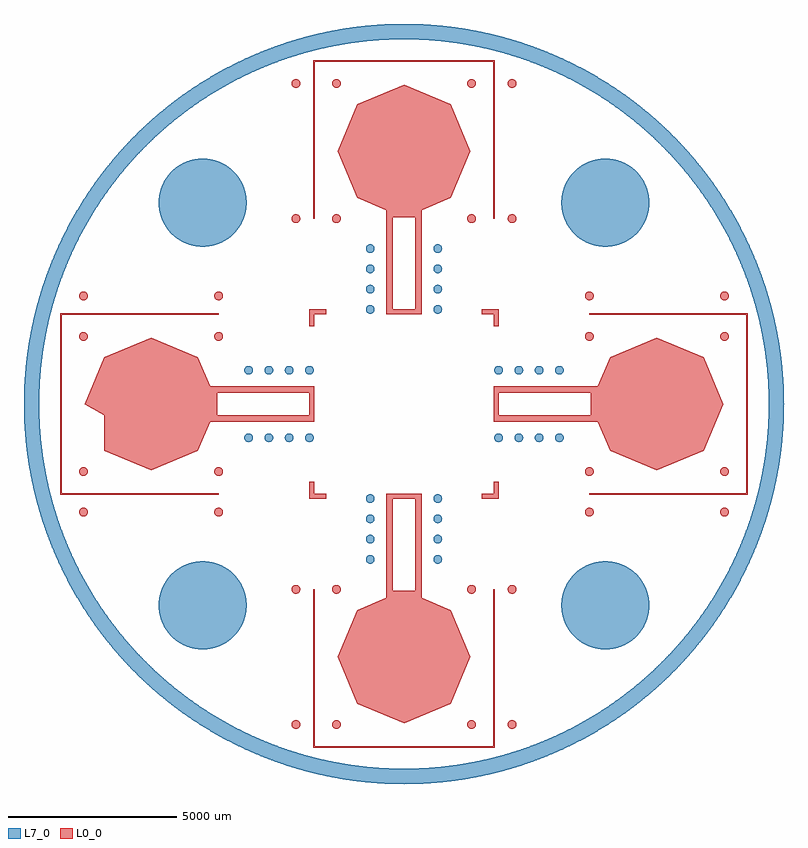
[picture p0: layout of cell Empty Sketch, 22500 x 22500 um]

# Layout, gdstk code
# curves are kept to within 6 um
import gdstk
lib = gdstk.Library(unit=1e-6, precision=1e-09)
def P(c, l, *ps):  # polygons
    for p in ps: c.add(gdstk.Polygon(p, *l))
L0_0 = (0, 0)
L7_0 = (7, 0)

empty_sketch = lib.new_cell('Empty Sketch')
P(empty_sketch, L0_0, [(-2639,10128),(2639,10128),(2639,5489),(2689,5489),(2689,10178),(-2689,10178),(-2689,5489),(-2639,5489)],
  [(-1998.988,9364.004),(-1951.697,9373.71),(-1910.899,9401.33),(-1884.322,9441.632),(-1875.004,9490.012),(-1884.71,9537.303),(-1912.33,9578.101),(-1952.632,9604.678),(-2001.012,9613.996),(-2048.303,9604.29),(-2089.101,9576.67),(-2115.678,9536.368),(-2124.996,9487.988),(-2115.29,9440.697),(-2087.67,9399.899),(-2047.368,9373.322)],
  [(-3198.988,9364.004),(-3151.697,9373.71),(-3110.899,9401.33),(-3084.322,9441.632),(-3075.004,9490.012),(-3084.71,9537.303),(-3112.33,9578.101),(-3152.632,9604.678),(-3201.012,9613.996),(-3248.303,9604.29),(-3289.101,9576.67),(-3315.678,9536.368),(-3324.996,9487.988),(-3315.29,9440.697),(-3287.67,9399.899),(-3247.368,9373.322)],
  [(2001.012,9364.004),(2048.303,9373.71),(2089.101,9401.33),(2115.678,9441.632),(2124.996,9490.012),(2115.29,9537.303),(2087.67,9578.101),(2047.368,9604.678),(1998.988,9613.996),(1951.697,9604.29),(1910.899,9576.67),(1884.322,9536.368),(1875.004,9487.988),(1884.71,9440.697),(1912.33,9399.899),(1952.632,9373.322)],
  [(3201.012,9364.004),(3248.303,9373.71),(3289.101,9401.33),(3315.678,9441.632),(3324.996,9490.012),(3315.29,9537.303),(3287.67,9578.101),(3247.368,9604.678),(3198.988,9613.996),(3151.697,9604.29),(3110.899,9576.67),(3084.322,9536.368),(3075.004,9487.988),(3084.71,9440.697),(3112.33,9399.899),(3152.632,9373.322)],
  [(-1998.988,5364.004),(-1951.697,5373.71),(-1910.899,5401.33),(-1884.322,5441.632),(-1875.004,5490.012),(-1884.71,5537.303),(-1912.33,5578.101),(-1952.632,5604.678),(-2001.012,5613.996),(-2048.303,5604.29),(-2089.101,5576.67),(-2115.678,5536.368),(-2124.996,5487.988),(-2115.29,5440.697),(-2087.67,5399.899),(-2047.368,5373.322)],
  [(2001.012,5364.004),(2048.303,5373.71),(2089.101,5401.33),(2115.678,5441.632),(2124.996,5490.012),(2115.29,5537.303),(2087.67,5578.101),(2047.368,5604.678),(1998.988,5613.996),(1951.697,5604.29),(1910.899,5576.67),(1884.322,5536.368),(1875.004,5487.988),(1884.71,5440.697),(1912.33,5399.899),(1952.632,5373.322)],
  [(3201.012,5364.004),(3248.303,5373.71),(3289.101,5401.33),(3315.678,5441.632),(3324.996,5490.012),(3315.29,5537.303),(3287.67,5578.101),(3247.368,5604.678),(3198.988,5613.996),(3151.697,5604.29),(3110.899,5576.67),(3084.322,5536.368),(3075.004,5487.988),(3084.71,5440.697),(3112.33,5399.899),(3152.632,5373.322)],
  [(-3198.988,5364.004),(-3151.697,5373.71),(-3110.899,5401.33),(-3084.322,5441.632),(-3075.004,5490.012),(-3084.71,5537.303),(-3112.33,5578.101),(-3152.632,5604.678),(-3201.012,5613.996),(-3248.303,5604.29),(-3289.101,5576.67),(-3315.678,5536.368),(-3324.996,5487.988),(-3315.29,5440.697),(-3287.67,5399.899),(-3247.368,5373.322)],
  [(-5487.988,3075.004),(-5440.697,3084.71),(-5399.899,3112.33),(-5373.322,3152.632),(-5364.004,3201.012),(-5373.71,3248.303),(-5401.33,3289.101),(-5441.632,3315.678),(-5490.012,3324.996),(-5537.303,3315.29),(-5578.101,3287.67),(-5604.678,3247.368),(-5613.996,3198.988),(-5604.29,3151.697),(-5576.67,3110.899),(-5536.368,3084.322)],
  [(-9487.988,3075.004),(-9440.697,3084.71),(-9399.899,3112.33),(-9373.322,3152.632),(-9364.004,3201.012),(-9373.71,3248.303),(-9401.33,3289.101),(-9441.632,3315.678),(-9490.012,3324.996),(-9537.303,3315.29),(-9578.101,3287.67),(-9604.678,3247.368),(-9613.996,3198.988),(-9604.29,3151.697),(-9576.67,3110.899),(-9536.368,3084.322)],
  [(9490.012,3075.004),(9537.303,3084.71),(9578.101,3112.33),(9604.678,3152.632),(9613.996,3201.012),(9604.29,3248.303),(9576.67,3289.101),(9536.368,3315.678),(9487.988,3324.996),(9440.697,3315.29),(9399.899,3287.67),(9373.322,3247.368),(9364.004,3198.988),(9373.71,3151.697),(9401.33,3110.899),(9441.632,3084.322)],
  [(5490.012,3075.004),(5537.303,3084.71),(5578.101,3112.33),(5604.678,3152.632),(5613.996,3201.012),(5604.29,3248.303),(5576.67,3289.101),(5536.368,3315.678),(5487.988,3324.996),(5440.697,3315.29),(5399.899,3287.67),(5373.322,3247.368),(5364.004,3198.988),(5373.71,3151.697),(5401.33,3110.899),(5441.632,3084.322)],
  [(2800,2800),(2300,2800),(2300,2650),(2650,2650),(2650,2300),(2800,2300)],
  [(-2650,2650),(-2300,2650),(-2300,2800),(-2800,2800),(-2800,2300),(-2650,2300)],
  [(-5489,-2639),(-10128,-2639),(-10128,2639),(-5489,2639),(-5489,2689),(-10178,2689),(-10178,-2689),(-5489,-2689)],
  [(10178,2689),(5489,2689),(5489,2639),(10128,2639),(10128,-2639),(5489,-2639),(5489,-2689),(10178,-2689)],
  [(-5487.988,1875.004),(-5440.697,1884.71),(-5399.899,1912.33),(-5373.322,1952.632),(-5364.004,2001.012),(-5373.71,2048.303),(-5401.33,2089.101),(-5441.632,2115.678),(-5490.012,2124.996),(-5537.303,2115.29),(-5578.101,2087.67),(-5604.678,2047.368),(-5613.996,1998.988),(-5604.29,1951.697),(-5576.67,1910.899),(-5536.368,1884.322)],
  [(-9487.988,1875.004),(-9440.697,1884.71),(-9399.899,1912.33),(-9373.322,1952.632),(-9364.004,2001.012),(-9373.71,2048.303),(-9401.33,2089.101),(-9441.632,2115.678),(-9490.012,2124.996),(-9537.303,2115.29),(-9578.101,2087.67),(-9604.678,2047.368),(-9613.996,1998.988),(-9604.29,1951.697),(-9576.67,1910.899),(-9536.368,1884.322)],
  [(5490.012,1875.004),(5537.303,1884.71),(5578.101,1912.33),(5604.678,1952.632),(5613.996,2001.012),(5604.29,2048.303),(5576.67,2089.101),(5536.368,2115.678),(5487.988,2124.996),(5440.697,2115.29),(5399.899,2087.67),(5373.322,2047.368),(5364.004,1998.988),(5373.71,1951.697),(5401.33,1910.899),(5441.632,1884.322)],
  [(9490.012,1875.004),(9537.303,1884.71),(9578.101,1912.33),(9604.678,1952.632),(9613.996,2001.012),(9604.29,2048.303),(9576.67,2089.101),(9536.368,2115.678),(9487.988,2124.996),(9440.697,2115.29),(9399.899,2087.67),(9373.322,2047.368),(9364.004,1998.988),(9373.71,1951.697),(9401.33,1910.899),(9441.632,1884.322)],
  [(5740.462,-525),(6098.828,-1390.172),(7489,-1966),(8879.172,-1390.172),(9455,0),(8879.172,1390.172),(7489,1966),(6098.828,1390.172),(5740.462,525),(2650,525),(2650,-335),(2800,-335),(2800,335),(5523,335),(5523,-335),(2650,-335),(2650,-525)],
  [(-6098.828,-1390.172),(-5740.462,-525),(-2650,-525),(-2650,525),(-5740.462,525),(-6098.828,1390.172),(-7489,1966),(-8879.172,1390.172),(-9455,0),(-8879.171,-335),(-5523,-335),(-5523,335),(-2800,335),(-2800,-335),(-8879.171,-335),(-8879.172,-1390.172),(-7489,-1966)],
  [(5490.012,-2124.996),(5537.303,-2115.29),(5578.101,-2087.67),(5604.678,-2047.368),(5613.996,-1998.988),(5604.29,-1951.697),(5576.67,-1910.899),(5536.368,-1884.322),(5487.988,-1875.004),(5440.697,-1884.71),(5399.899,-1912.33),(5373.322,-1952.632),(5364.004,-2001.012),(5373.71,-2048.303),(5401.33,-2089.101),(5441.632,-2115.678)],
  [(-9487.988,-2124.996),(-9440.697,-2115.29),(-9399.899,-2087.67),(-9373.322,-2047.368),(-9364.004,-1998.988),(-9373.71,-1951.697),(-9401.33,-1910.899),(-9441.632,-1884.322),(-9490.012,-1875.004),(-9537.303,-1884.71),(-9578.101,-1912.33),(-9604.678,-1952.632),(-9613.996,-2001.012),(-9604.29,-2048.303),(-9576.67,-2089.101),(-9536.368,-2115.678)],
  [(-5487.988,-2124.996),(-5440.697,-2115.29),(-5399.899,-2087.67),(-5373.322,-2047.368),(-5364.004,-1998.988),(-5373.71,-1951.697),(-5401.33,-1910.899),(-5441.632,-1884.322),(-5490.012,-1875.004),(-5537.303,-1884.71),(-5578.101,-1912.33),(-5604.678,-1952.632),(-5613.996,-2001.012),(-5604.29,-2048.303),(-5576.67,-2089.101),(-5536.368,-2115.678)],
  [(9490.012,-2124.996),(9537.303,-2115.29),(9578.101,-2087.67),(9604.678,-2047.368),(9613.996,-1998.988),(9604.29,-1951.697),(9576.67,-1910.899),(9536.368,-1884.322),(9487.988,-1875.004),(9440.697,-1884.71),(9399.899,-1912.33),(9373.322,-1952.632),(9364.004,-2001.012),(9373.71,-2048.303),(9401.33,-2089.101),(9441.632,-2115.678)],
  [(-2300,-2650),(-2650,-2650),(-2650,-2300),(-2800,-2300),(-2800,-2800),(-2300,-2800)],
  [(2800,-2300),(2650,-2300),(2650,-2650),(2300,-2650),(2300,-2800),(2800,-2800)],
  [(9490.012,-3324.996),(9537.303,-3315.29),(9578.101,-3287.67),(9604.678,-3247.368),(9613.996,-3198.988),(9604.29,-3151.697),(9576.67,-3110.899),(9536.368,-3084.322),(9487.988,-3075.004),(9440.697,-3084.71),(9399.899,-3112.33),(9373.322,-3152.632),(9364.004,-3201.012),(9373.71,-3248.303),(9401.33,-3289.101),(9441.632,-3315.678)],
  [(5490.012,-3324.996),(5537.303,-3315.29),(5578.101,-3287.67),(5604.678,-3247.368),(5613.996,-3198.988),(5604.29,-3151.697),(5576.67,-3110.899),(5536.368,-3084.322),(5487.988,-3075.004),(5440.697,-3084.71),(5399.899,-3112.33),(5373.322,-3152.632),(5364.004,-3201.012),(5373.71,-3248.303),(5401.33,-3289.101),(5441.632,-3315.678)],
  [(-9487.988,-3324.996),(-9440.697,-3315.29),(-9399.899,-3287.67),(-9373.322,-3247.368),(-9364.004,-3198.988),(-9373.71,-3151.697),(-9401.33,-3110.899),(-9441.632,-3084.322),(-9490.012,-3075.004),(-9537.303,-3084.71),(-9578.101,-3112.33),(-9604.678,-3152.632),(-9613.996,-3201.012),(-9604.29,-3248.303),(-9576.67,-3289.101),(-9536.368,-3315.678)],
  [(-5487.988,-3324.996),(-5440.697,-3315.29),(-5399.899,-3287.67),(-5373.322,-3247.368),(-5364.004,-3198.988),(-5373.71,-3151.697),(-5401.33,-3110.899),(-5441.632,-3084.322),(-5490.012,-3075.004),(-5537.303,-3084.71),(-5578.101,-3112.33),(-5604.678,-3152.632),(-5613.996,-3201.012),(-5604.29,-3248.303),(-5576.67,-3289.101),(-5536.368,-3315.678)],
  [(-3198.988,-5613.996),(-3151.697,-5604.29),(-3110.899,-5576.67),(-3084.322,-5536.368),(-3075.004,-5487.988),(-3084.71,-5440.697),(-3112.33,-5399.899),(-3152.632,-5373.322),(-3201.012,-5364.004),(-3248.303,-5373.71),(-3289.101,-5401.33),(-3315.678,-5441.632),(-3324.996,-5490.012),(-3315.29,-5537.303),(-3287.67,-5578.101),(-3247.368,-5604.678)],
  [(-1998.988,-5613.996),(-1951.697,-5604.29),(-1910.899,-5576.67),(-1884.322,-5536.368),(-1875.004,-5487.988),(-1884.71,-5440.697),(-1912.33,-5399.899),(-1952.632,-5373.322),(-2001.012,-5364.004),(-2048.303,-5373.71),(-2089.101,-5401.33),(-2115.678,-5441.632),(-2124.996,-5490.012),(-2115.29,-5537.303),(-2087.67,-5578.101),(-2047.368,-5604.678)],
  [(3201.012,-5613.996),(3248.303,-5604.29),(3289.101,-5576.67),(3315.678,-5536.368),(3324.996,-5487.988),(3315.29,-5440.697),(3287.67,-5399.899),(3247.368,-5373.322),(3198.988,-5364.004),(3151.697,-5373.71),(3110.899,-5401.33),(3084.322,-5441.632),(3075.004,-5490.012),(3084.71,-5537.303),(3112.33,-5578.101),(3152.632,-5604.678)],
  [(2001.012,-5613.996),(2048.303,-5604.29),(2089.101,-5576.67),(2115.678,-5536.368),(2124.996,-5487.988),(2115.29,-5440.697),(2087.67,-5399.899),(2047.368,-5373.322),(1998.988,-5364.004),(1951.697,-5373.71),(1910.899,-5401.33),(1884.322,-5441.632),(1875.004,-5490.012),(1884.71,-5537.303),(1912.33,-5578.101),(1952.632,-5604.678)],
  [(2689,-5489),(2639,-5489),(2639,-10128),(-2639,-10128),(-2639,-5489),(-2689,-5489),(-2689,-10178),(2689,-10178)],
  [(-3198.988,-9613.996),(-3151.697,-9604.29),(-3110.899,-9576.67),(-3084.322,-9536.368),(-3075.004,-9487.988),(-3084.71,-9440.697),(-3112.33,-9399.899),(-3152.632,-9373.322),(-3201.012,-9364.004),(-3248.303,-9373.71),(-3289.101,-9401.33),(-3315.678,-9441.632),(-3324.996,-9490.012),(-3315.29,-9537.303),(-3287.67,-9578.101),(-3247.368,-9604.678)],
  [(-1998.988,-9613.996),(-1951.697,-9604.29),(-1910.899,-9576.67),(-1884.322,-9536.368),(-1875.004,-9487.988),(-1884.71,-9440.697),(-1912.33,-9399.899),(-1952.632,-9373.322),(-2001.012,-9364.004),(-2048.303,-9373.71),(-2089.101,-9401.33),(-2115.678,-9441.632),(-2124.996,-9490.012),(-2115.29,-9537.303),(-2087.67,-9578.101),(-2047.368,-9604.678)],
  [(2001.012,-9613.996),(2048.303,-9604.29),(2089.101,-9576.67),(2115.678,-9536.368),(2124.996,-9487.988),(2115.29,-9440.697),(2087.67,-9399.899),(2047.368,-9373.322),(1998.988,-9364.004),(1951.697,-9373.71),(1910.899,-9401.33),(1884.322,-9441.632),(1875.004,-9490.012),(1884.71,-9537.303),(1912.33,-9578.101),(1952.632,-9604.678)],
  [(3201.012,-9613.996),(3248.303,-9604.29),(3289.101,-9576.67),(3315.678,-9536.368),(3324.996,-9487.988),(3315.29,-9440.697),(3287.67,-9399.899),(3247.368,-9373.322),(3198.988,-9364.004),(3151.697,-9373.71),(3110.899,-9401.33),(3084.322,-9441.632),(3075.004,-9490.012),(3084.71,-9537.303),(3112.33,-9578.101),(3152.632,-9604.678)],
  [(525,2650),(525,5740.462),(1390.172,6098.828),(1966,7489),(1390.172,8879.172),(0,9455),(-1390.172,8879.172),(-1966,7489),(-1390.172,6098.828),(-525,5740.462),(-525,2800),(-335,2800),(-335,5523),(335,5523),(335,2800),(-525,2800),(-525,2650)],
  [(-1390.172,-6098.828),(-1966,-7489),(-1390.172,-8879.172),(0,-9455),(1390.172,-8879.172),(1966,-7489),(1390.172,-6098.828),(525,-5740.462),(525,-2650),(-525,-2650),(-525,-5523),(-335,-5523),(-335,-2800),(335,-2800),(335,-5523),(-525,-5523),(-525,-5740.462)])
P(empty_sketch, L7_0, [(-11249.836,-60.726),(-11231.935,-637.289),(-11187.735,-1181.984),(-11117.135,-1723.891),(-11020.303,-2261.73),(-10889.885,-2823.634),(-10739.915,-3349.139),(-10564.602,-3866.742),(-10364.36,-4375.22),(-10139.661,-4873.374),(-9891.036,-5360.029),(-9619.071,-5834.036),(-9324.408,-6294.276),(-9007.743,-6739.664),(-8669.822,-7169.148),(-8290.95,-7604.12),(-7911.895,-7997.775),(-7514.171,-8372.559),(-7098.715,-8727.585),(-6642.027,-9079.977),(-6193.246,-9391.816),(-5729.852,-9681.493),(-5226.067,-9962.466),(-4736.102,-10204.501),(-4234.961,-10422.457),(-3723.827,-10615.819),(-3203.905,-10784.131),(-2676.424,-10926.997),(-2142.627,-11044.078),(-1603.774,-11135.098),(-1061.137,-11199.843),(-485.662,-11239.512),(60.726,-11249.836),(637.289,-11231.935),(1181.984,-11187.735),(1723.891,-11117.135),(2261.73,-11020.303),(2823.634,-10889.885),(3349.139,-10739.915),(3866.742,-10564.602),(4375.22,-10364.36),(4873.374,-10139.661),(5360.029,-9891.036),(5834.036,-9619.071),(6294.276,-9324.408),(6739.664,-9007.743),(7169.148,-8669.822),(7604.12,-8290.95),(7997.775,-7911.895),(8372.559,-7514.171),(8727.585,-7098.715),(9079.977,-6642.027),(9391.816,-6193.246),(9681.493,-5729.852),(9962.466,-5226.067),(10204.501,-4736.102),(10422.457,-4234.961),(10615.819,-3723.827),(10784.131,-3203.905),(10926.997,-2676.424),(11044.078,-2142.627),(11135.098,-1603.774),(11199.843,-1061.137),(11239.512,-485.662),(11249.836,60.726),(11231.935,637.289),(11187.735,1181.984),(11117.135,1723.891),(11020.303,2261.73),(10889.885,2823.634),(10739.915,3349.139),(10564.602,3866.742),(10364.36,4375.22),(10139.661,4873.374),(9891.036,5360.029),(9619.071,5834.036),(9324.408,6294.276),(9007.743,6739.664),(8669.822,7169.148),(8290.95,7604.12),(7911.895,7997.775),(7514.171,8372.559),(7098.715,8727.585),(6642.027,9079.977),(6193.246,9391.816),(5729.852,9681.493),(5226.067,9962.466),(4736.102,10204.501),(4234.961,10422.457),(3723.827,10615.819),(3203.905,10784.131),(2676.424,10926.997),(2142.627,11044.078),(1603.774,11135.098),(1061.137,11199.843),(485.662,11239.512),(-60.726,11249.836),(-637.289,11231.935),(-1181.984,11187.735),(-1723.891,11117.135),(-2261.73,11020.303),(-2794.232,10897.466),(-3320.14,10748.915),(-3838.214,10574.999),(-4347.231,10376.13),(-4845.99,10152.777),(-5333.314,9905.466),(-5808.053,9634.782),(-6269.087,9341.362),(-6715.328,9025.9),(-7145.722,8689.14),(-7559.256,8331.876),(-7976.392,7933.452),(-8352.248,7536.741),(-8708.394,7122.245),(-9043.992,6690.943),(-9375.066,6218.572),(-9665.993,5755.961),(-9934.111,5279.768),(-10178.787,4791.116),(-10399.445,4291.159),(-10595.564,3781.076),(-10766.68,3262.07),(-10912.39,2735.368),(-11032.351,2202.211),(-11126.279,1663.857),(-11193.952,1121.577),(-11236.727,546.325),(-11250,0),(-10800,0),(-10776.387,713.778),(-10743.907,1099.304),(-10701.686,1453.932),(-10582.197,2158.034),(-10416.434,2852.7),(-10205.124,3534.891),(-9949.188,4201.625),(-9649.748,4849.986),(-9308.112,5477.14),(-8975.736,6006.344),(-8613.308,6515.438),(-8241.308,6980.032),(-7823.792,7445.017),(-7380.081,7885.075),(-6911.66,8298.732),(-6420.098,8684.604),(-5931.934,9025.085),(-5374.204,9367.92),(-4823.375,9663.077),(-4229.027,9937.572),(-3619.138,10175.551),(-2995.951,10376.14),(-2361.756,10538.601),(-1718.882,10662.338),(-1099.304,10743.907),(-446.31,10790.774),(208.324,10797.991),(832.522,10767.865),(1483.418,10697.639),(2128.864,10588.104),(2766.487,10439.662),(3393.944,10252.86),(4008.93,10028.384),(4609.186,9767.057),(5192.504,9469.842),(5781.903,9121.93),(6323.978,8754.844),(6842.816,8355.589),(7358.324,7905.383),(7823.792,7445.017),(8260.512,6957.294),(8684.604,6420.098),(9057.642,5882.102),(9397.398,5322.491),(9702.623,4743.323),(9972.195,4146.726),(10214.826,3506.754),(10416.434,2852.7),(10570.142,2216.326),(10685.009,1571.808),(10763.113,891.857),(10797.376,238.08),(10791.963,-416.571),(10743.907,-1099.304),(10657.56,-1748.258),(10525.424,-2419.804),(10359.47,-3053.094),(10145.283,-3703.139),(9902.27,-4311.038),(9622.87,-4903.097),(9308.112,-5477.14),(8959.15,-6031.056),(8559.149,-6586.423),(8124.774,-7115.339),(7678.728,-7594.547),(7401.783,-7864.707),(7115.339,-8124.774),(6796.66,-8393.176),(6491.676,-8631.23),(6178.362,-8858.208),(5857.118,-9073.818),(5528.359,-9277.783),(5166.388,-9484.115),(4823.375,-9663.077),(4474.173,-9829.638),(4119.229,-9983.584),(3731.083,-10135.039),(3365.677,-10262.174),(2995.951,-10376.14),(2593.5,-10483.976),(2216.326,-10570.142),(1836.307,-10642.743),(1453.932,-10701.686),(1069.692,-10746.895),(654.373,-10780.158),(238.08,-10797.376),(-148.808,-10798.975),(-535.505,-10786.716),(-921.514,-10760.614),(-1306.341,-10720.703),(-1718.882,-10662.338),(-2099.677,-10593.93),(-2477.778,-10511.927),(-2852.7,-10416.434),(-3223.96,-10307.574),(-3591.083,-10185.486),(-3981.279,-10039.393),(-4338.311,-9890.352),(-4689.775,-9728.618),(-5035.22,-9554.4),(-5348.368,-9382.695),(-5681.001,-9185.109),(-6006.344,-8975.736),(-6323.978,-8754.844),(-6633.497,-8522.718),(-6934.503,-8279.653),(-7226.611,-8025.964),(-7509.444,-7761.975),(-7761.975,-7509.444),(-8006.019,-7248.701),(-8260.512,-6957.294),(-8504.405,-6656.959),(-8737.384,-6348.081),(-8975.736,-6006.344),(-9200.73,-5655.667),(-9412.03,-5296.574),(-9622.87,-4903.097),(-9804.829,-4528.281),(-9972.195,-4146.726),(-10124.719,-3758.998),(-10271.41,-3337.384),(-10392.494,-2938.717),(-10498.111,-2535.678),(-10588.104,-2128.864),(-10667.034,-1689.492),(-10727.74,-1247.234),(-10767.865,-832.522),(-10791.963,-416.571),(-10800,0),(-11250,0)],
  [(-5944.921,4660.523),(-5821.116,4667.916),(-5688.459,4689.198),(-5452.215,4763.886),(-5340.502,4817.762),(-5225.878,4887.847),(-5127.008,4962.729),(-5028.486,5054.074),(-4939.918,5155.1),(-4867.818,5256.016),(-4800.95,5372.547),(-4750.204,5485.716),(-4682.12,5723.947),(-4665.402,5846.841),(-4660.594,5981.108),(-4669.67,6115.154),(-4690.289,6237.454),(-4765.916,6473.399),(-4825.239,6593.945),(-4890.777,6699.241),(-4972.742,6805.695),(-5057.787,6895.971),(-5159.165,6984.136),(-5260.367,7055.835),(-5480.907,7168.758),(-5598.238,7208.956),(-5729.033,7239.67),(-5975.939,7260.337),(-6099.744,7252.944),(-6232.401,7231.662),(-6468.645,7156.974),(-6580.358,7103.098),(-6694.982,7033.013),(-6793.852,6958.131),(-6892.374,6866.786),(-6980.942,6765.76),(-7053.042,6664.844),(-7119.91,6548.313),(-7170.656,6435.144),(-7238.74,6196.913),(-7255.458,6074.019),(-7260.266,5939.752),(-7251.19,5805.706),(-7230.571,5683.406),(-7154.944,5447.461),(-7095.621,5326.915),(-7030.083,5221.619),(-6948.118,5115.165),(-6863.073,5024.889),(-6761.695,4936.724),(-6660.493,4865.025),(-6439.953,4752.102),(-6322.622,4711.904),(-6191.827,4681.19)],
  [(5975.939,4660.523),(6099.744,4667.916),(6232.401,4689.198),(6468.645,4763.886),(6580.358,4817.762),(6694.982,4887.847),(6793.852,4962.729),(6892.374,5054.074),(6980.942,5155.1),(7053.042,5256.016),(7119.91,5372.547),(7170.656,5485.716),(7238.74,5723.947),(7255.458,5846.841),(7260.266,5981.108),(7251.19,6115.154),(7230.571,6237.454),(7154.944,6473.399),(7095.621,6593.945),(7030.083,6699.241),(6948.118,6805.695),(6863.073,6895.971),(6761.695,6984.136),(6660.493,7055.835),(6439.953,7168.758),(6322.622,7208.956),(6191.827,7239.67),(5944.921,7260.337),(5821.116,7252.944),(5688.459,7231.662),(5452.215,7156.974),(5340.502,7103.098),(5225.878,7033.013),(5127.008,6958.131),(5028.486,6866.786),(4939.918,6765.76),(4867.818,6664.844),(4800.95,6548.313),(4750.204,6435.144),(4682.12,6196.913),(4665.402,6074.019),(4660.594,5939.752),(4669.67,5805.706),(4690.289,5683.406),(4765.916,5447.461),(4825.239,5326.915),(4890.777,5221.619),(4972.742,5115.165),(5057.787,5024.889),(5159.165,4936.724),(5260.367,4865.025),(5480.907,4752.102),(5598.238,4711.904),(5729.033,4681.19)],
  [(1007.849,4475.247),(1060.219,4490.462),(1096.314,4520.322),(1118.882,4561.373),(1124.753,4607.849),(1109.538,4660.219),(1079.678,4696.314),(1038.627,4718.882),(992.151,4724.753),(939.781,4709.538),(903.686,4679.678),(881.118,4638.627),(875.247,4592.151),(890.462,4539.781),(920.322,4503.686),(961.373,4481.118)],
  [(-992.151,4475.247),(-939.781,4490.462),(-903.686,4520.322),(-881.118,4561.373),(-875.247,4607.849),(-890.462,4660.219),(-920.322,4696.314),(-961.373,4718.882),(-1007.849,4724.753),(-1060.219,4709.538),(-1096.314,4679.678),(-1118.882,4638.627),(-1124.753,4592.151),(-1109.538,4539.781),(-1079.678,4503.686),(-1038.627,4481.118)],
  [(1007.849,3875.247),(1060.219,3890.462),(1096.314,3920.322),(1118.882,3961.373),(1124.753,4007.849),(1109.538,4060.219),(1079.678,4096.314),(1038.627,4118.882),(992.151,4124.753),(939.781,4109.538),(903.686,4079.678),(881.118,4038.627),(875.247,3992.151),(890.462,3939.781),(920.322,3903.686),(961.373,3881.118)],
  [(-992.151,3875.247),(-939.781,3890.462),(-903.686,3920.322),(-881.118,3961.373),(-875.247,4007.849),(-890.462,4060.219),(-920.322,4096.314),(-961.373,4118.882),(-1007.849,4124.753),(-1060.219,4109.538),(-1096.314,4079.678),(-1118.882,4038.627),(-1124.753,3992.151),(-1109.538,3939.781),(-1079.678,3903.686),(-1038.627,3881.118)],
  [(1007.849,3275.247),(1060.219,3290.462),(1096.314,3320.322),(1118.882,3361.373),(1124.753,3407.849),(1109.538,3460.219),(1079.678,3496.314),(1038.627,3518.882),(992.151,3524.753),(939.781,3509.538),(903.686,3479.678),(881.118,3438.627),(875.247,3392.151),(890.462,3339.781),(920.322,3303.686),(961.373,3281.118)],
  [(-992.151,3275.247),(-939.781,3290.462),(-903.686,3320.322),(-881.118,3361.373),(-875.247,3407.849),(-890.462,3460.219),(-920.322,3496.314),(-961.373,3518.882),(-1007.849,3524.753),(-1060.219,3509.538),(-1096.314,3479.678),(-1118.882,3438.627),(-1124.753,3392.151),(-1109.538,3339.781),(-1079.678,3303.686),(-1038.627,3281.118)],
  [(1007.849,2675.247),(1060.219,2690.462),(1096.314,2720.322),(1118.882,2761.373),(1124.753,2807.849),(1109.538,2860.219),(1079.678,2896.314),(1038.627,2918.882),(992.151,2924.753),(939.781,2909.538),(903.686,2879.678),(881.118,2838.627),(875.247,2792.151),(890.462,2739.781),(920.322,2703.686),(961.373,2681.118)],
  [(-992.151,2675.247),(-939.781,2690.462),(-903.686,2720.322),(-881.118,2761.373),(-875.247,2807.849),(-890.462,2860.219),(-920.322,2896.314),(-961.373,2918.882),(-1007.849,2924.753),(-1060.219,2909.538),(-1096.314,2879.678),(-1118.882,2838.627),(-1124.753,2792.151),(-1109.538,2739.781),(-1079.678,2703.686),(-1038.627,2681.118)],
  [(4007.849,875.247),(4060.219,890.462),(4096.314,920.322),(4118.882,961.373),(4124.753,1007.849),(4109.538,1060.219),(4079.678,1096.314),(4038.627,1118.882),(3992.151,1124.753),(3939.781,1109.538),(3903.686,1079.678),(3881.118,1038.627),(3875.247,992.151),(3890.462,939.781),(3920.322,903.686),(3961.373,881.118)],
  [(4607.849,875.247),(4660.219,890.462),(4696.314,920.322),(4718.882,961.373),(4724.753,1007.849),(4709.538,1060.219),(4679.678,1096.314),(4638.627,1118.882),(4592.151,1124.753),(4539.781,1109.538),(4503.686,1079.678),(4481.118,1038.627),(4475.247,992.151),(4490.462,939.781),(4520.322,903.686),(4561.373,881.118)],
  [(-2792.151,875.247),(-2739.781,890.462),(-2703.686,920.322),(-2681.118,961.373),(-2675.247,1007.849),(-2690.462,1060.219),(-2720.322,1096.314),(-2761.373,1118.882),(-2807.849,1124.753),(-2860.219,1109.538),(-2896.314,1079.678),(-2918.882,1038.627),(-2924.753,992.151),(-2909.538,939.781),(-2879.678,903.686),(-2838.627,881.118)],
  [(-3392.151,875.247),(-3339.781,890.462),(-3303.686,920.322),(-3281.118,961.373),(-3275.247,1007.849),(-3290.462,1060.219),(-3320.322,1096.314),(-3361.373,1118.882),(-3407.849,1124.753),(-3460.219,1109.538),(-3496.314,1079.678),(-3518.882,1038.627),(-3524.753,992.151),(-3509.538,939.781),(-3479.678,903.686),(-3438.627,881.118)],
  [(-3992.151,875.247),(-3939.781,890.462),(-3903.686,920.322),(-3881.118,961.373),(-3875.247,1007.849),(-3890.462,1060.219),(-3920.322,1096.314),(-3961.373,1118.882),(-4007.849,1124.753),(-4060.219,1109.538),(-4096.314,1079.678),(-4118.882,1038.627),(-4124.753,992.151),(-4109.538,939.781),(-4079.678,903.686),(-4038.627,881.118)],
  [(-4592.151,875.247),(-4539.781,890.462),(-4503.686,920.322),(-4481.118,961.373),(-4475.247,1007.849),(-4490.462,1060.219),(-4520.322,1096.314),(-4561.373,1118.882),(-4607.849,1124.753),(-4660.219,1109.538),(-4696.314,1079.678),(-4718.882,1038.627),(-4724.753,992.151),(-4709.538,939.781),(-4679.678,903.686),(-4638.627,881.118)],
  [(2807.849,875.247),(2860.219,890.462),(2896.314,920.322),(2918.882,961.373),(2924.753,1007.849),(2909.538,1060.219),(2879.678,1096.314),(2838.627,1118.882),(2792.151,1124.753),(2739.781,1109.538),(2703.686,1079.678),(2681.118,1038.627),(2675.247,992.151),(2690.462,939.781),(2720.322,903.686),(2761.373,881.118)],
  [(3407.849,875.247),(3460.219,890.462),(3496.314,920.322),(3518.882,961.373),(3524.753,1007.849),(3509.538,1060.219),(3479.678,1096.314),(3438.627,1118.882),(3392.151,1124.753),(3339.781,1109.538),(3303.686,1079.678),(3281.118,1038.627),(3275.247,992.151),(3290.462,939.781),(3320.322,903.686),(3361.373,881.118)],
  [(3407.849,-1124.753),(3460.219,-1109.538),(3496.314,-1079.678),(3518.882,-1038.627),(3524.753,-992.151),(3509.538,-939.781),(3479.678,-903.686),(3438.627,-881.118),(3392.151,-875.247),(3339.781,-890.462),(3303.686,-920.322),(3281.118,-961.373),(3275.247,-1007.849),(3290.462,-1060.219),(3320.322,-1096.314),(3361.373,-1118.882)],
  [(4007.849,-1124.753),(4060.219,-1109.538),(4096.314,-1079.678),(4118.882,-1038.627),(4124.753,-992.151),(4109.538,-939.781),(4079.678,-903.686),(4038.627,-881.118),(3992.151,-875.247),(3939.781,-890.462),(3903.686,-920.322),(3881.118,-961.373),(3875.247,-1007.849),(3890.462,-1060.219),(3920.322,-1096.314),(3961.373,-1118.882)],
  [(-2792.151,-1124.753),(-2739.781,-1109.538),(-2703.686,-1079.678),(-2681.118,-1038.627),(-2675.247,-992.151),(-2690.462,-939.781),(-2720.322,-903.686),(-2761.373,-881.118),(-2807.849,-875.247),(-2860.219,-890.462),(-2896.314,-920.322),(-2918.882,-961.373),(-2924.753,-1007.849),(-2909.538,-1060.219),(-2879.678,-1096.314),(-2838.627,-1118.882)],
  [(-3392.151,-1124.753),(-3339.781,-1109.538),(-3303.686,-1079.678),(-3281.118,-1038.627),(-3275.247,-992.151),(-3290.462,-939.781),(-3320.322,-903.686),(-3361.373,-881.118),(-3407.849,-875.247),(-3460.219,-890.462),(-3496.314,-920.322),(-3518.882,-961.373),(-3524.753,-1007.849),(-3509.538,-1060.219),(-3479.678,-1096.314),(-3438.627,-1118.882)],
  [(4607.849,-1124.753),(4660.219,-1109.538),(4696.314,-1079.678),(4718.882,-1038.627),(4724.753,-992.151),(4709.538,-939.781),(4679.678,-903.686),(4638.627,-881.118),(4592.151,-875.247),(4539.781,-890.462),(4503.686,-920.322),(4481.118,-961.373),(4475.247,-1007.849),(4490.462,-1060.219),(4520.322,-1096.314),(4561.373,-1118.882)],
  [(-3992.151,-1124.753),(-3939.781,-1109.538),(-3903.686,-1079.678),(-3881.118,-1038.627),(-3875.247,-992.151),(-3890.462,-939.781),(-3920.322,-903.686),(-3961.373,-881.118),(-4007.849,-875.247),(-4060.219,-890.462),(-4096.314,-920.322),(-4118.882,-961.373),(-4124.753,-1007.849),(-4109.538,-1060.219),(-4079.678,-1096.314),(-4038.627,-1118.882)],
  [(-4592.151,-1124.753),(-4539.781,-1109.538),(-4503.686,-1079.678),(-4481.118,-1038.627),(-4475.247,-992.151),(-4490.462,-939.781),(-4520.322,-903.686),(-4561.373,-881.118),(-4607.849,-875.247),(-4660.219,-890.462),(-4696.314,-920.322),(-4718.882,-961.373),(-4724.753,-1007.849),(-4709.538,-1060.219),(-4679.678,-1096.314),(-4638.627,-1118.882)],
  [(2807.849,-1124.753),(2860.219,-1109.538),(2896.314,-1079.678),(2918.882,-1038.627),(2924.753,-992.151),(2909.538,-939.781),(2879.678,-903.686),(2838.627,-881.118),(2792.151,-875.247),(2739.781,-890.462),(2703.686,-920.322),(2681.118,-961.373),(2675.247,-1007.849),(2690.462,-1060.219),(2720.322,-1096.314),(2761.373,-1118.882)],
  [(-992.151,-2924.753),(-939.781,-2909.538),(-903.686,-2879.678),(-881.118,-2838.627),(-875.247,-2792.151),(-890.462,-2739.781),(-920.322,-2703.686),(-961.373,-2681.118),(-1007.849,-2675.247),(-1060.219,-2690.462),(-1096.314,-2720.322),(-1118.882,-2761.373),(-1124.753,-2807.849),(-1109.538,-2860.219),(-1079.678,-2896.314),(-1038.627,-2918.882)],
  [(1007.849,-2924.753),(1060.219,-2909.538),(1096.314,-2879.678),(1118.882,-2838.627),(1124.753,-2792.151),(1109.538,-2739.781),(1079.678,-2703.686),(1038.627,-2681.118),(992.151,-2675.247),(939.781,-2690.462),(903.686,-2720.322),(881.118,-2761.373),(875.247,-2807.849),(890.462,-2860.219),(920.322,-2896.314),(961.373,-2918.882)],
  [(-992.151,-3524.753),(-939.781,-3509.538),(-903.686,-3479.678),(-881.118,-3438.627),(-875.247,-3392.151),(-890.462,-3339.781),(-920.322,-3303.686),(-961.373,-3281.118),(-1007.849,-3275.247),(-1060.219,-3290.462),(-1096.314,-3320.322),(-1118.882,-3361.373),(-1124.753,-3407.849),(-1109.538,-3460.219),(-1079.678,-3496.314),(-1038.627,-3518.882)],
  [(1007.849,-3524.753),(1060.219,-3509.538),(1096.314,-3479.678),(1118.882,-3438.627),(1124.753,-3392.151),(1109.538,-3339.781),(1079.678,-3303.686),(1038.627,-3281.118),(992.151,-3275.247),(939.781,-3290.462),(903.686,-3320.322),(881.118,-3361.373),(875.247,-3407.849),(890.462,-3460.219),(920.322,-3496.314),(961.373,-3518.882)],
  [(-992.151,-4124.753),(-939.781,-4109.538),(-903.686,-4079.678),(-881.118,-4038.627),(-875.247,-3992.151),(-890.462,-3939.781),(-920.322,-3903.686),(-961.373,-3881.118),(-1007.849,-3875.247),(-1060.219,-3890.462),(-1096.314,-3920.322),(-1118.882,-3961.373),(-1124.753,-4007.849),(-1109.538,-4060.219),(-1079.678,-4096.314),(-1038.627,-4118.882)],
  [(1007.849,-4124.753),(1060.219,-4109.538),(1096.314,-4079.678),(1118.882,-4038.627),(1124.753,-3992.151),(1109.538,-3939.781),(1079.678,-3903.686),(1038.627,-3881.118),(992.151,-3875.247),(939.781,-3890.462),(903.686,-3920.322),(881.118,-3961.373),(875.247,-4007.849),(890.462,-4060.219),(920.322,-4096.314),(961.373,-4118.882)],
  [(-992.151,-4724.753),(-939.781,-4709.538),(-903.686,-4679.678),(-881.118,-4638.627),(-875.247,-4592.151),(-890.462,-4539.781),(-920.322,-4503.686),(-961.373,-4481.118),(-1007.849,-4475.247),(-1060.219,-4490.462),(-1096.314,-4520.322),(-1118.882,-4561.373),(-1124.753,-4607.849),(-1109.538,-4660.219),(-1079.678,-4696.314),(-1038.627,-4718.882)],
  [(1007.849,-4724.753),(1060.219,-4709.538),(1096.314,-4679.678),(1118.882,-4638.627),(1124.753,-4592.151),(1109.538,-4539.781),(1079.678,-4503.686),(1038.627,-4481.118),(992.151,-4475.247),(939.781,-4490.462),(903.686,-4520.322),(881.118,-4561.373),(875.247,-4607.849),(890.462,-4660.219),(920.322,-4696.314),(961.373,-4718.882)],
  [(5975.939,-7260.337),(6099.744,-7252.944),(6232.401,-7231.662),(6468.645,-7156.974),(6580.358,-7103.098),(6694.982,-7033.013),(6793.852,-6958.131),(6892.374,-6866.786),(6980.942,-6765.76),(7053.042,-6664.844),(7119.91,-6548.313),(7170.656,-6435.144),(7238.74,-6196.913),(7255.458,-6074.019),(7260.266,-5939.752),(7251.19,-5805.706),(7230.571,-5683.406),(7154.944,-5447.461),(7095.621,-5326.915),(7030.083,-5221.619),(6948.118,-5115.165),(6863.073,-5024.889),(6761.695,-4936.724),(6660.493,-4865.025),(6439.953,-4752.102),(6322.622,-4711.904),(6191.827,-4681.19),(5944.921,-4660.523),(5821.116,-4667.916),(5688.459,-4689.198),(5452.215,-4763.886),(5340.502,-4817.762),(5225.878,-4887.847),(5127.008,-4962.729),(5028.486,-5054.074),(4939.918,-5155.1),(4867.818,-5256.016),(4800.95,-5372.547),(4750.204,-5485.716),(4682.12,-5723.947),(4665.402,-5846.841),(4660.594,-5981.108),(4669.67,-6115.154),(4690.289,-6237.454),(4765.916,-6473.399),(4825.239,-6593.945),(4890.777,-6699.241),(4972.742,-6805.695),(5057.787,-6895.971),(5159.165,-6984.136),(5260.367,-7055.835),(5480.907,-7168.758),(5598.238,-7208.956),(5729.033,-7239.67)],
  [(-5944.921,-7260.337),(-5821.116,-7252.944),(-5688.459,-7231.662),(-5452.215,-7156.974),(-5340.502,-7103.098),(-5225.878,-7033.013),(-5127.008,-6958.131),(-5028.486,-6866.786),(-4939.918,-6765.76),(-4867.818,-6664.844),(-4800.95,-6548.313),(-4750.204,-6435.144),(-4682.12,-6196.913),(-4665.402,-6074.019),(-4660.594,-5939.752),(-4669.67,-5805.706),(-4690.289,-5683.406),(-4765.916,-5447.461),(-4825.239,-5326.915),(-4890.777,-5221.619),(-4972.742,-5115.165),(-5057.787,-5024.889),(-5159.165,-4936.724),(-5260.367,-4865.025),(-5480.907,-4752.102),(-5598.238,-4711.904),(-5729.033,-4681.19),(-5975.939,-4660.523),(-6099.744,-4667.916),(-6232.401,-4689.198),(-6468.645,-4763.886),(-6580.358,-4817.762),(-6694.982,-4887.847),(-6793.852,-4962.729),(-6892.374,-5054.074),(-6980.942,-5155.1),(-7053.042,-5256.016),(-7119.91,-5372.547),(-7170.656,-5485.716),(-7238.74,-5723.947),(-7255.458,-5846.841),(-7260.266,-5981.108),(-7251.19,-6115.154),(-7230.571,-6237.454),(-7154.944,-6473.399),(-7095.621,-6593.945),(-7030.083,-6699.241),(-6948.118,-6805.695),(-6863.073,-6895.971),(-6761.695,-6984.136),(-6660.493,-7055.835),(-6439.953,-7168.758),(-6322.622,-7208.956),(-6191.827,-7239.67)])

lib.write_gds('Empty_Sketch.gds')
